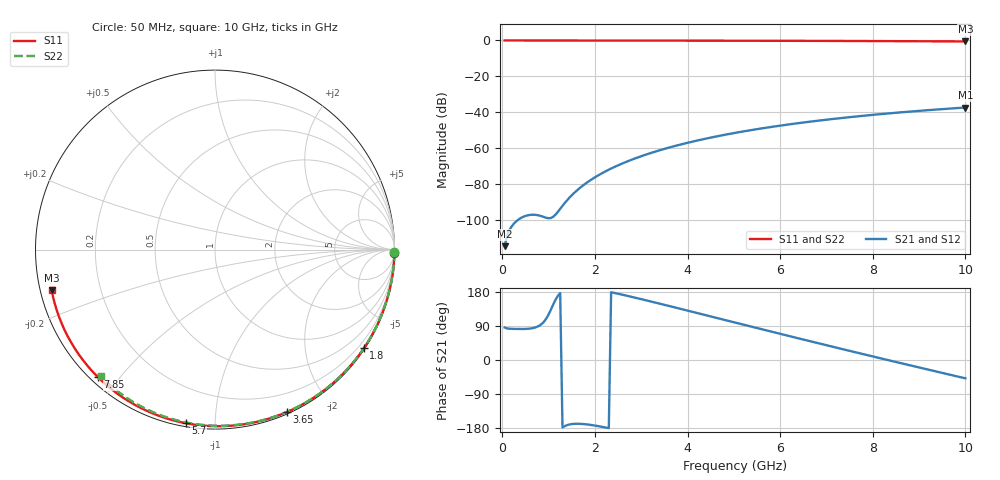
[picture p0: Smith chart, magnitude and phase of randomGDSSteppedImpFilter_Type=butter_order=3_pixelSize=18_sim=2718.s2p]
! freq	dB(S11)	phase(S11)	dB(S12)	phase(S12)
!  dB(S21)	phase(S21)	dB(S22)	phase(S22)
!S-par simulation data
#  GHz  S  DB  R 50
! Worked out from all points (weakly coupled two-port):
!   200 points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, 50 MHz to 10 GHz, reference 50 ohm
!   highest |S21| = -37.31 dB at 10 GHz (marker M1); lowest = -114.4 dB at 50 MHz (marker M2)
!   lowest |S11| = -0.6 dB at 10 GHz (marker M3), VSWR 31.28, Z = 1.62 - j6.12 ohm
!   |S11| at or under -10 dB: nowhere
!   |S22| runs from -0.4 to 0.0 dB; largest |S21 - S12| = 0
!   S11 on the Smith chart (normalised r, x): 50 MHz: open; 1.8 GHz: 0.03, -3.32; 3.65 GHz: 0.02, -1.54; 5.7 GHz: 0.02, -0.84; 7.85 GHz: 0.02, -0.44; 10 GHz: 0.03, -0.12
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0.05  -0.00 -0.9  -114.43 85.7  -114.43 85.7  -0.00 -0.8
0.45  -0.01 -8.5  -98.12 81.8  -98.12 81.8  -0.01 -6.9
0.85  -0.02 -16.0  -97.77 95.0  -97.77 95.0  -0.02 -12.9
1.3  -0.03 -24.4  -91.98 -178.1  -91.98 -178.1  -0.02 -19.7
1.75  -0.04 -32.6  -80.51 -168.9  -80.51 -168.9  -0.03 -26.4
1.8  -0.04 -33.5  -79.56 -169.5  -79.56 -169.5  -0.03 -27.1
2.1  -0.05 -39.0  -74.61 -175.1  -74.61 -175.1  -0.04 -31.5
2.3  -0.05 -42.6  -71.87 -179.9  -71.87 -179.9  -0.04 -34.4
2.5  -0.06 -46.1  -69.45 174.8  -69.45 174.8  -0.05 -37.3
2.9  -0.07 -53.2  -65.31 163.5  -65.31 163.5  -0.06 -43.1
3.4  -0.08 -61.9  -61.07 148.7  -61.07 148.7  -0.07 -50.2
3.65  -0.09 -66.2  -59.24 141.1  -59.24 141.1  -0.07 -53.7
4.35  -0.11 -77.9  -54.86 119.6  -54.86 119.6  -0.09 -63.3
5.05  -0.14 -89.3  -51.30 98.1  -51.30 98.1  -0.11 -72.6
5.7  -0.17 -99.6  -48.52 78.2  -48.52 78.2  -0.13 -81.0
6.2  -0.19 -107.4  -46.66 63.0  -46.66 63.0  -0.16 -87.3
6.7  -0.23 -115.1  -44.99 48.0  -44.99 48.0  -0.18 -93.5
7.25  -0.27 -123.5  -43.35 31.5  -43.35 31.5  -0.21 -100.2
7.85  -0.31 -132.6  -41.75 13.8  -41.75 13.8  -0.25 -107.4
8.35  -0.36 -140.2  -40.56 -0.9  -40.56 -0.9  -0.29 -113.2
9.2  -0.45 -153.3  -38.76 -25.5  -38.76 -25.5  -0.36 -123.0
10  -0.56 -166.0  -37.31 -48.4  -37.31 -48.4  -0.44 -132.1
